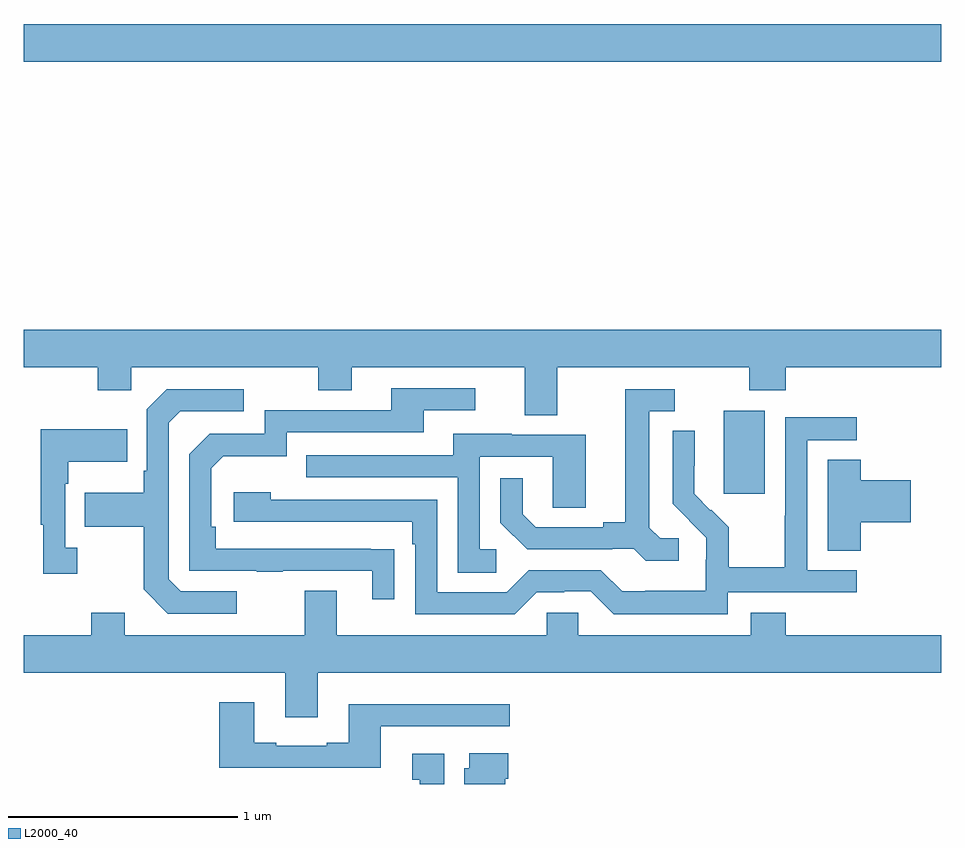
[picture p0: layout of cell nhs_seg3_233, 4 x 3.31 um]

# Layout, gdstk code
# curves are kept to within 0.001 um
import gdstk
lib = gdstk.Library(unit=1e-6, precision=1e-09)
def R(c, l, rs):  # rectangles x0, y0, x1, y1
    for r in rs: c.add(gdstk.rectangle(r[:2], r[2:], *l))
def P(c, l, *ps):  # polygons
    for p in ps: c.add(gdstk.Polygon(p, *l))
L2000_40 = (2000, 40)

nhs_seg3_233 = lib.new_cell('nhs_seg3_233')
R(nhs_seg3_233, L2000_40, [(124.052,733.665,124.231,734.026), (121,735.548,125,735.712)])
P(nhs_seg3_233, L2000_40, [(123.325,734.216),(124.162,734.216),(124.162,734.117),(124.322,734.117),(124.322,734.216),(125,734.216),(125,734.38),(121,734.38),(121,734.216),(121.324,734.216),(121.324,734.117),(121.47,734.117),(121.47,734.216),(122.284,734.216),(122.284,734.117),(122.431,734.117),(122.431,734.216),(123.185,734.216),(123.185,734.008),(123.325,734.008)],
  [(122.615,733.424),(121.838,733.425),(121.838,733.522),(121.818,733.522),(121.818,733.776),(121.871,733.829),(122.148,733.829),(122.148,733.932),(122.743,733.932),(122.743,734.028),(122.968,734.028),(122.968,734.124),(122.603,734.124),(122.603,734.028),(122.052,734.028),(122.052,733.926),(121.812,733.926),(121.722,733.836),(121.722,733.329),(122.017,733.329),(122.017,733.324),(122.129,733.324),(122.129,733.329),(122.519,733.329),(122.519,733.206),(122.615,733.206)],
  [(121.93,733.239),(121.686,733.239),(121.632,733.293),(121.632,733.974),(121.683,734.025),(121.96,734.025),(121.96,734.121),(121.623,734.121),(121.536,734.034),(121.536,733.765),(121.524,733.765),(121.524,733.669),(121.267,733.669),(121.267,733.522),(121.524,733.522),(121.524,733.249),(121.629,733.143),(121.93,733.143)],
  [(123.856,733.47),(123.774,733.47),(123.727,733.517),(123.727,734.025),(123.838,734.025),(123.838,734.121),(123.623,734.121),(123.623,733.541),(123.527,733.541),(123.527,733.518),(123.232,733.518),(123.175,733.575),(123.175,733.732),(123.078,733.732),(123.078,733.538),(123.194,733.422),(123.566,733.422),(123.566,733.425),(123.66,733.425),(123.712,733.373),(123.856,733.373)],
  [(124.068,733.236),(124.63,733.236),(124.63,733.332),(124.416,733.332),(124.416,733.899),(124.63,733.899),(124.63,733.998),(124.32,733.998),(124.32,733.568),(124.318,733.568),(124.318,733.345),(124.073,733.345),(124.073,733.519),(123.996,733.596),(123.993,733.593),(123.923,733.664),(123.924,733.94),(123.828,733.94),(123.828,733.622),(123.974,733.474),(123.974,733.377),(123.972,733.377),(123.972,733.243),(123.709,733.243),(123.709,733.239),(123.609,733.239),(123.516,733.332),(123.201,733.332),(123.105,733.236),(122.802,733.236),(122.802,733.638),(122.078,733.638),(122.078,733.672),(121.917,733.672),(121.917,733.542),(122.693,733.542),(122.693,733.445),(122.706,733.445),(122.706,733.14),(123.141,733.14),(123.237,733.236),(123.356,733.236),(123.356,733.239),(123.471,733.239),(123.571,733.139),(124.068,733.139)],
  [(121.234,733.43),(121.182,733.43),(121.182,733.709),(121.195,733.709),(121.195,733.805),(121.451,733.805),(121.451,733.945),(121.074,733.945),(121.074,733.529),(121.085,733.529),(121.085,733.317),(121.234,733.317)],
  [(123.061,733.422),(122.988,733.422),(122.988,733.827),(123.306,733.827),(123.306,733.603),(123.451,733.603),(123.451,733.923),(123.127,733.923),(123.127,733.927),(122.873,733.927),(122.873,733.833),(122.233,733.833),(122.233,733.737),(122.892,733.737),(122.892,733.321),(123.061,733.321)],
  [(124.649,733.541),(124.867,733.541),(124.867,733.724),(124.649,733.724),(124.649,733.814),(124.505,733.814),(124.505,733.417),(124.649,733.417)],
  [(122.281,732.884),(125,732.884),(125,733.048),(124.322,733.048),(124.322,733.147),(124.169,733.147),(124.169,733.048),(123.417,733.048),(123.417,733.146),(123.279,733.146),(123.279,733.048),(122.365,733.048),(122.365,733.243),(122.225,733.243),(122.225,733.048),(121.441,733.048),(121.441,733.147),(121.294,733.147),(121.294,733.048),(121,733.048),(121,732.884),(122.141,732.884),(122.141,732.69),(122.281,732.69)],
  [(122.557,732.651),(123.118,732.651),(123.118,732.748),(122.417,732.748),(122.417,732.58),(122.321,732.58),(122.321,732.567),(122.101,732.567),(122.101,732.58),(122.005,732.58),(122.005,732.757),(121.853,732.757),(121.853,732.47),(122.557,732.47)],
  [(123.1,732.422),(123.113,732.422),(123.113,732.535),(122.942,732.535),(122.942,732.468),(122.921,732.468),(122.921,732.4),(123.1,732.4)],
  [(122.833,732.532),(122.693,732.532),(122.693,732.419),(122.726,732.419),(122.726,732.4),(122.833,732.4)])

lib.write_gds('nhs_seg3_233.gds')
